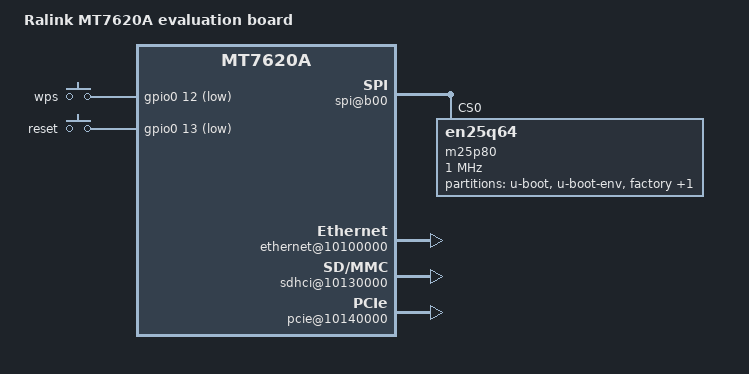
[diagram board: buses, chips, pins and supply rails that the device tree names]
/dts-v1/;

/include/ "mt7620a.dtsi"

/ {
	compatible = "ralink,mt7620a-eval-board", "ralink,mt7620a-soc";
	model = "Ralink MT7620A evaluation board";

	palmbus@10000000 {
		sysc@0 {
			ralink,gpiomux = "i2c", "jtag";
			ralink,uartmux = "gpio";
			ralink,wdtmux = <1>;
		};

		gpio0: gpio@600 {
			status = "okay";
		};

		spi@b00 {
			status = "okay";
		
			m25p80@0 {
				#address-cells = <1>;
				#size-cells = <1>;
				compatible = "en25q64";
				reg = <0 0>;
				linux,modalias = "m25p80", "en25q64";
				spi-max-frequency = <1000000>;

				partition@0 {
					label = "u-boot";
					reg = <0x0 0x30000>;
					read-only;
				};

				partition@30000 {
					label = "u-boot-env";
					reg = <0x30000 0x10000>;
					read-only;
				};

				factory: partition@40000 {
					label = "factory";
					reg = <0x40000 0x10000>;
					read-only;
				};

				partition@50000 {
					label = "firmware";
					reg = <0x50000 0x7b0000>;
				};
			};
		};
	};

	ethernet@10100000 {
		status = "okay";

		pinctrl-names = "default";
		pinctrl-0 = <&ephy_pins>;
	};

	gsw@10110000 {
		status = "okay";
		ralink,port4 = "ephy";
	};

	sdhci@10130000 {
		status = "okay";
	};

	pcie@10140000 {
		status = "okay";
	};

	gpio-keys-polled {
		compatible = "gpio-keys";
		#address-cells = <1>;
		#size-cells = <0>;
		poll-interval = <20>;
		wps {
			label = "wps";
			gpios = <&gpio0 12 1>;
			linux,code = <0x100>;
		};
		reset {
			label = "reset";
			gpios = <&gpio0 13 1>;
			linux,code = <0x101>;
		};
	};
};
